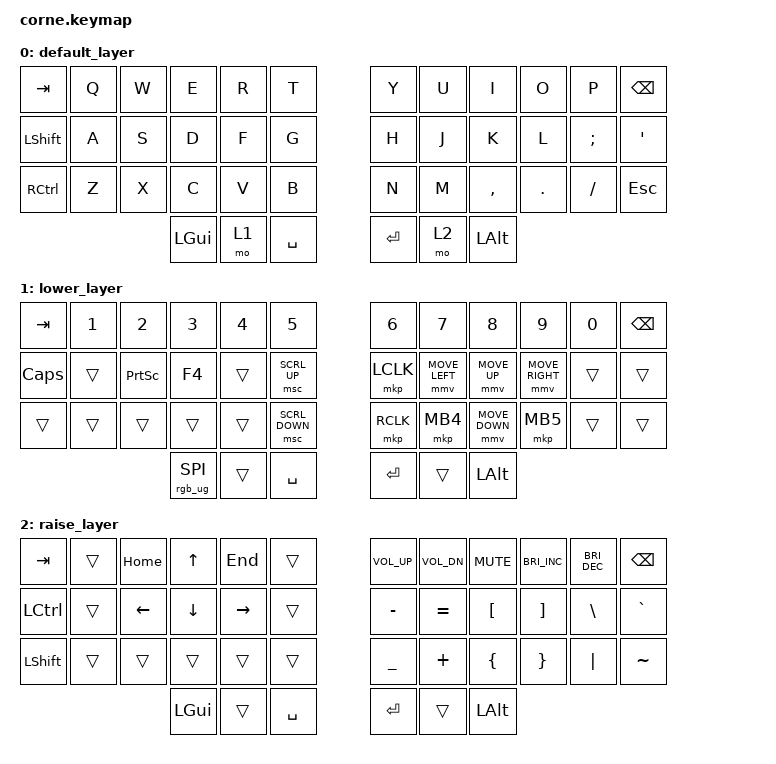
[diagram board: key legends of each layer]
/*
 * Copyright (c) 2020 The ZMK Contributors
 *
 * SPDX-License-Identifier: MIT
 */

#include <behaviors.dtsi>
#include <dt-bindings/zmk/keys.h>
#include <dt-bindings/zmk/pointing.h>
#include <dt-bindings/zmk/rgb.h>

/ {
    keymap {
        compatible = "zmk,keymap";

        default_layer {
            // -----------------------------------------------------------------------------------------
            // |  TAB |  Q  |  W  |  E  |  R  |  T  |   |  Y  |  U   |  I  |  O  |  P  | BKSP |
            // | CTRL |  A  |  S  |  D  |  F  |  G  |   |  H  |  J   |  K  |  L  |  ;  |  '   |
            // | SHFT |  Z  |  X  |  C  |  V  |  B  |   |  N  |  M   |  ,  |  .  |  /  | ESC  |
            //                    | GUI | LWR | SPC |   | ENT | RSE  | ALT |

            bindings = <
&kp TAB         &kp Q  &kp W  &kp E     &kp R  &kp T        &kp Y      &kp U  &kp I         &kp O    &kp P          &kp BSPC
&kp LEFT_SHIFT  &kp A  &kp S  &kp D     &kp F  &kp G        &kp H      &kp J  &kp K         &kp L    &kp SEMICOLON  &kp SQT
&kp RCTRL       &kp Z  &kp X  &kp C     &kp V  &kp B        &kp N      &kp M  &kp COMMA     &kp DOT  &kp SLASH      &kp ESC
                              &kp LGUI  &mo 1  &kp SPACE    &kp ENTER  &mo 2  &kp LEFT_ALT
            >;
        };

        lower_layer {
            // -----------------------------------------------------------------------------------------
            // |  TAB |  1  |  2  |  3  |  4  |  5  |   |  6  |  7  |  8  |  9  |  0  | BKSP |
            // | BTCLR| BT1 | BT2 | BT3 | BT4 | BT5 |   | LFT | DWN |  UP | RGT |     |      |
            // | SHFT |     |     |     |     |     |   |     |     |     |     |     |      |
            //                    | GUI |     | SPC |   | ENT |     | ALT |

            bindings = <
&kp TAB       &kp N1  &kp N2     &kp N3           &kp N4  &kp N5            &kp N6     &kp N7          &kp N8          &kp N9           &kp N0  &kp BSPC
&kp CAPSLOCK  &trans  &kp PSCRN  &kp F4           &trans  &msc SCRL_UP      &mkp LCLK  &mmv MOVE_LEFT  &mmv MOVE_UP    &mmv MOVE_RIGHT  &trans  &trans
&trans        &trans  &trans     &trans           &trans  &msc SCRL_DOWN    &mkp RCLK  &mkp MB4        &mmv MOVE_DOWN  &mkp MB5         &trans  &trans
                                 &rgb_ug RGB_SPI  &trans  &kp SPACE         &kp RET    &trans          &kp LEFT_ALT
            >;
        };

        raise_layer {
            // -----------------------------------------------------------------------------------------
            // |  TAB |  !  |  @  |  #  |  $  |  %  |   |  ^  |  &  |  *  |  (  |  )  | BKSP |
            // | CTRL |     |     |     |     |     |   |  -  |  =  |  [  |  ]  |  \  |  `   |
            // | SHFT |     |     |     |     |     |   |  _  |  +  |  {  |  }  | "|" |  ~   |
            //                    | GUI |     | SPC |   | ENT |     | ALT |

            bindings = <
&kp TAB    &trans  &kp HOME  &kp UP    &kp END    &trans       &kp C_VOLUME_UP  &kp C_VOL_DN  &kp K_MUTE    &kp C_BRIGHTNESS_INC  &kp C_BRIGHTNESS_DEC  &kp BSPC
&kp LCTRL  &trans  &kp LEFT  &kp DOWN  &kp RIGHT  &trans       &kp MINUS        &kp EQUAL     &kp LBKT      &kp RBKT              &kp BSLH              &kp GRAVE
&kp LSHFT  &trans  &trans    &trans    &trans     &trans       &kp UNDER        &kp PLUS      &kp LBRC      &kp RBRC              &kp PIPE              &kp TILDE
                             &kp LGUI  &trans     &kp SPACE    &kp RET          &trans        &kp LEFT_ALT
            >;
        };
    };
};
